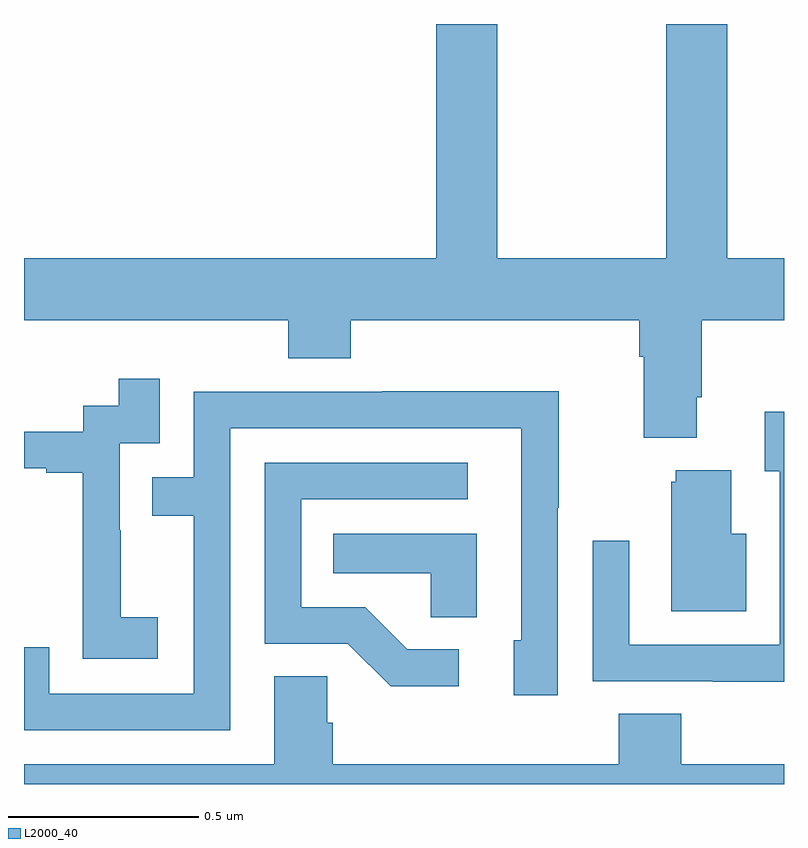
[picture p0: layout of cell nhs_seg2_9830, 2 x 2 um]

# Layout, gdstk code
import gdstk
lib = gdstk.Library(unit=1e-6, precision=1e-09)
def P(c, l, *ps):  # polygons
    for p in ps: c.add(gdstk.Polygon(p, *l))
L2000_40 = (2000, 40)

nhs_seg2_9830 = lib.new_cell('nhs_seg2_9830')
P(nhs_seg2_9830, L2000_40, [(235.771,596.818),(235.784,596.818),(235.784,597.02),(236,597.02),(236,597.184),(235.85,597.184),(235.85,597.8),(235.69,597.8),(235.69,597.184),(235.245,597.184),(235.245,597.8),(235.085,597.8),(235.085,597.184),(234,597.184),(234,597.02),(234.695,597.02),(234.695,596.921),(234.86,596.921),(234.86,597.02),(235.619,597.02),(235.619,596.924),(235.631,596.924),(235.631,596.711),(235.771,596.711)],
  [(234.352,596.239),(234.254,596.239),(234.254,596.468),(234.252,596.468),(234.252,596.697),(234.357,596.697),(234.357,596.866),(234.249,596.866),(234.249,596.796),(234.156,596.796),(234.156,596.727),(234,596.727),(234,596.631),(234.059,596.631),(234.059,596.619),(234.155,596.619),(234.155,596.335),(234.154,596.335),(234.154,596.129),(234.352,596.129)],
  [(234.543,596.736),(235.308,596.736),(235.308,596.178),(235.289,596.178),(235.289,596.034),(235.404,596.034),(235.404,596.527),(235.407,596.527),(235.407,596.834),(234.943,596.834),(234.943,596.832),(234.447,596.832),(234.447,596.607),(234.337,596.607),(234.337,596.506),(234.447,596.506),(234.447,596.037),(234.066,596.037),(234.066,596.16),(234,596.16),(234,595.941),(234.543,595.941)],
  [(236,596.779),(235.949,596.779),(235.949,596.623),(235.989,596.623),(235.989,596.166),(235.593,596.166),(235.593,596.44),(235.497,596.44),(235.497,596.07),(235.813,596.07),(235.813,596.069),(236,596.069)],
  [(235.144,596.154),(235.009,596.154),(234.898,596.265),(234.729,596.265),(234.729,596.55),(235.168,596.55),(235.168,596.646),(234.633,596.646),(234.633,596.169),(234.852,596.169),(234.965,596.057),(235.144,596.057)],
  [(235.9,596.458),(235.861,596.458),(235.861,596.626),(235.715,596.626),(235.715,596.595),(235.703,596.595),(235.703,596.255),(235.9,596.255)],
  [(235.192,596.458),(234.814,596.458),(234.814,596.354),(235.071,596.354),(235.071,596.239),(235.192,596.239)],
  [(236,595.852),(235.73,595.852),(235.73,595.985),(235.565,595.985),(235.565,595.852),(234.812,595.852),(234.812,595.961),(234.798,595.961),(234.798,596.084),(234.659,596.084),(234.659,595.852),(234,595.852),(234,595.8),(236,595.8)])

lib.write_gds('nhs_seg2_9830.gds')
